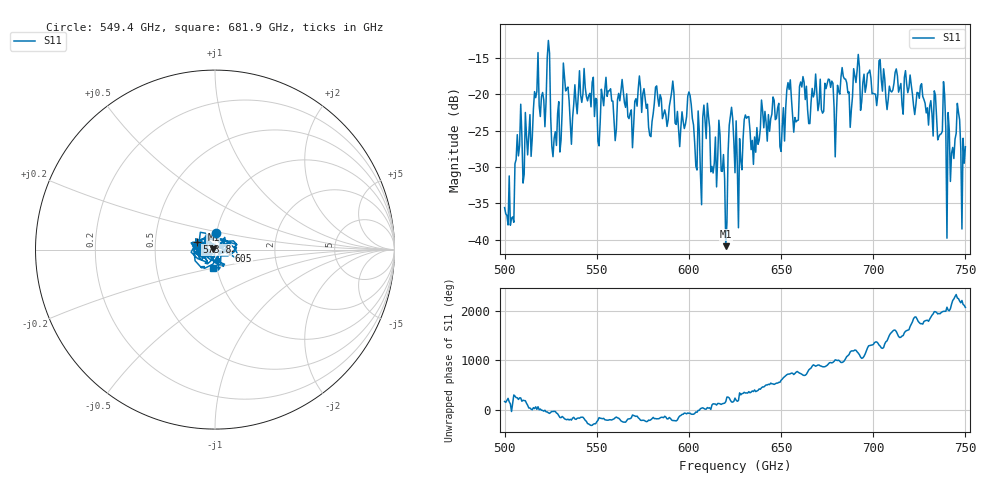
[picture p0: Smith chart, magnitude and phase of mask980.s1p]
!Created with skrf (http://scikit-rf.org).
# GHz S MA R 50.0
!freq magS11 angS11
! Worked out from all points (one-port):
!   401 points, 500 GHz to 750 GHz, reference 50 ohm
!   lowest |S11| = -40.9 dB at 620 GHz (marker M1), VSWR 1.02, Z = 49.1 + j0.123 ohm
!   |S11| at or under -10 dB: start of sweep to end of sweep
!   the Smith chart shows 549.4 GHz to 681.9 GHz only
!   S11 on the Smith chart (normalised r, x): 549.4 GHz: 1.00, +0.19; 573.8 GHz: 0.81, +0.07; 605 GHz: 1.17, -0.01; 681.9 GHz: 0.96, -0.19
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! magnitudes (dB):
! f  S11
! 500 GHz  -35.6
! 516.9 GHz  -20.5
! 523.8 GHz  -12.6
! 526.9 GHz  -26.1
! 531.2 GHz  -22.2
! 549.4 GHz  -20.6
! 562.5 GHz  -20.9
! 568.8 GHz  -22.2
! 573.8 GHz  -19.0
! 593.8 GHz  -22.4
! 600.6 GHz  -20.2
! 605 GHz  -22.3
! 609.4 GHz  -26.1
! 620 GHz  -40.9
! 622.5 GHz  -23.0
! 625 GHz  -30.8
! 627.5 GHz  -26.1
! 631.2 GHz  -23.3
! 635 GHz  -29.7
! 656.2 GHz  -22.9
! 681.9 GHz  -20.0
! 687.5 GHz  -24.6
! 690.6 GHz  -18.4
! 718.8 GHz  -19.8
! 738.1 GHz  -18.3
! 741.2 GHz  -24.9
! 745.6 GHz  -21.3
! 750 GHz  -27.2
